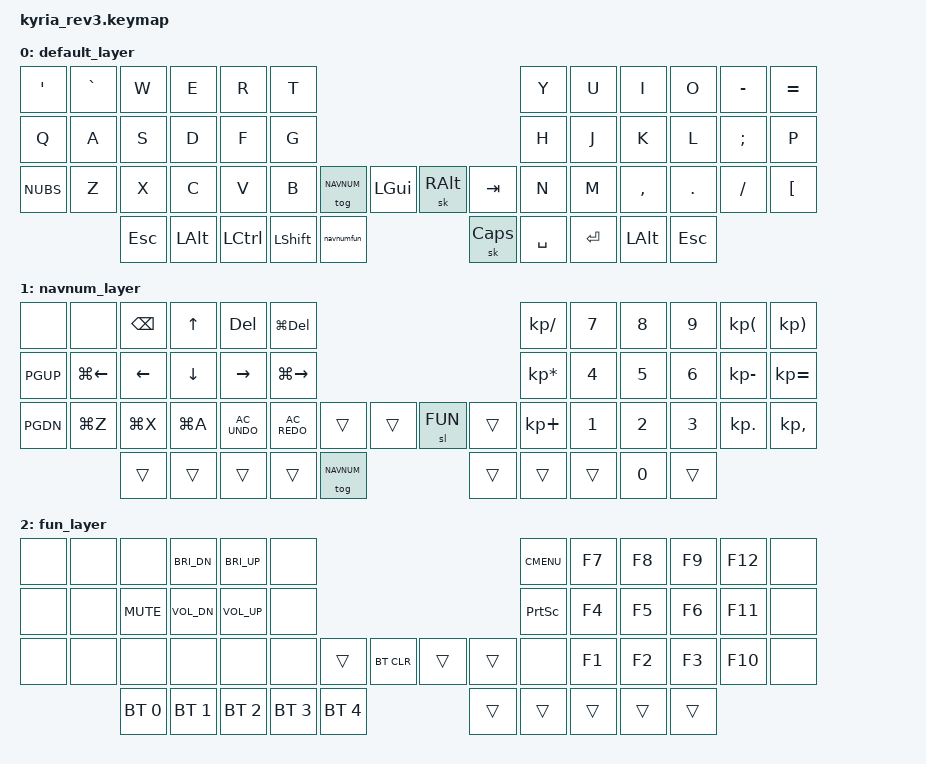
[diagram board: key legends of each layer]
/*
 * Copyright (c) 2023 The ZMK Contributors
 *
 * SPDX-License-Identifier: MIT
 */

#include <behaviors.dtsi>
#include <dt-bindings/zmk/keys.h>
#include <dt-bindings/zmk/bt.h>
#include <dt-bindings/zmk/rgb.h>
#include <dt-bindings/zmk/ext_power.h>

#define LM3 CAPS
#define RM3 BSLH
#define LM4 NUBS
#define RM4 RALT

#define LSGT NUBS
#define AB10 FSLH
#define AC10 SEMI
#define AC11 APOS
#define AC12 BSLH
#define AD10 P
#define AD11 LBKT
#define AD12 RBKT
#define AE00 GRAVE
#define AE11 MINUS
#define AE12 EQUAL

#define NAVNUM 1
#define FUN 2

// Make Sticky key and sticky layer behave the same way:

&sk {
    quick-release;
};

&sl {
    ignore-modifiers; // NOTE: ZMK decides what key codes are considered modifiers.
                      // This means that it makes a difference whether CAPS or AC12 is
                      // used as modifier.
};

/ {
    macros {
        // Release RALT, then act like &sl FUN
        sl_fun: sl_fun {
            label = "ZM_sl_fun";
            compatible = "zmk,behavior-macro";
            #binding-cells = <0>;
            bindings
                = <&macro_release &kp RALT>
                , <&macro_press &sl FUN>
                , <&macro_pause_for_release>
                , <&macro_release &sl FUN>
                ;
        };

        // // Sticky NAVNUM; double press to lock in layer
        // tapdance_navnum: tapdance_navnum {
        //     compatible = "zmk,behavior-tap-dance";
        //     label = "TAP_DANCE_0";
        //     #binding-cells = <0>;
        //     tapping-term-ms = <200>;
        //     bindings = <&sl NAVNUM>, <&tog NAVNUM>;
        // };
    };

    // Switch to NAVNUM, but if RALT is pressed, switch to FUN instead.
    navnumfun: switch_navnum_fun {
        compatible = "zmk,behavior-mod-morph";
        label = "SWITCH_NAVNUM_FUN";
        #binding-cells = <0>;
        bindings = <&mo NAVNUM>, <&sl_fun>;
        mods = <MOD_RALT>;
    };

    keymap {
        compatible = "zmk,keymap";

        default_layer {
            bindings = <
            &kp AC11  &kp AE00  &kp W    &kp E    &kp R    &kp T                                                   &kp Y     &kp U  &kp I     &kp O    &kp AE11   &kp AE12
            &kp Q     &kp A     &kp S    &kp D    &kp F    &kp G                                                   &kp H     &kp J  &kp K     &kp L    &kp AC10   &kp AD10
            &kp LSGT  &kp Z     &kp X    &kp C    &kp V    &kp B   &tog NAVNUM &kp LGUI        &sk RALT   &kp TAB  &kp N     &kp M  &kp COMMA &kp DOT  &kp AB10   &kp AD11
                                  &kp ESC   &kp LALT &kp LCTRL    &kp LSHIFT  &navnumfun        &sk CAPS   &kp SPACE  &kp RET   &kp LALT  &kp ESC
            >;
        };

        navnum_layer {
            bindings = <
            &none    &none        &kp BSPC  &kp UP    &kp DEL       &kp LG(DEL)                                            &kp KP_DIVIDE   &kp N7   &kp N8   &kp N9   &kp KP_LPAR  &kp KP_RPAR
            &kp PGUP &kp LG(LEFT) &kp LEFT  &kp DOWN  &kp RIGHT     &kp LG(RIGHT)                                          &kp KP_MULTIPLY &kp N4   &kp N5   &kp N6   &kp KP_MINUS &kp KP_EQUAL
            &kp PGDN &kp LG(Z)    &kp LG(X) &kp LG(A) &kp C_AC_UNDO &kp C_AC_REDO     &trans &trans        &sl FUN &trans  &kp KP_PLUS     &kp N1   &kp N2   &kp N3   &kp KP_DOT   &kp KP_COMMA
                                                         &trans    &trans    &trans   &trans &tog NAVNUM   &trans &trans &trans &kp N0 &trans
            >; 
        };

        fun_layer {
            bindings = <
            &none   &none   &none           &kp C_BRI_DN    &kp C_BRI_UP    &none                                                     &kp K_CMENU &kp F7  &kp F8  &kp F9  &kp F12 &none
            &none   &none   &kp C_MUTE      &kp C_VOL_DN    &kp C_VOL_UP    &none                                                     &kp PSCRN   &kp F4  &kp F5  &kp F6  &kp F11 &none
            &none   &none   &none           &none           &none           &none     &trans       &bt BT_CLR       &trans  &trans    &none       &kp F1  &kp F2  &kp F3  &kp F10 &none
                                               &bt BT_SEL 0 &bt BT_SEL 1 &bt BT_SEL 2 &bt BT_SEL 3 &bt BT_SEL 4     &trans  &trans  &trans  &trans  &trans
            >;
        };
    };
};
